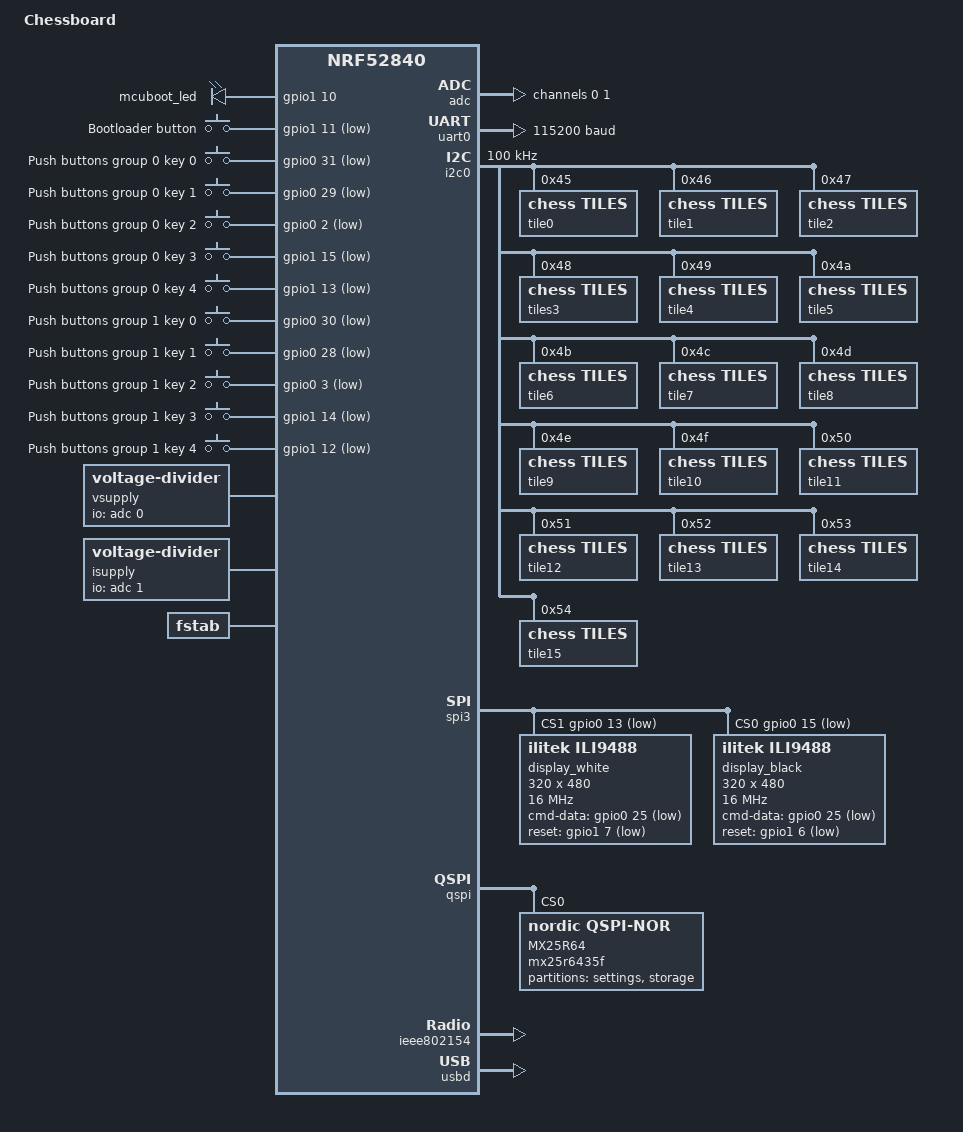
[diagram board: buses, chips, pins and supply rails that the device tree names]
/dts-v1/;

#include <nordic/nrf52840_qiaa.dtsi>
#include "chessboard-pinctrl.dtsi"
#include <zephyr/dt-bindings/input/input-event-codes.h>
#include <dt-bindings/display/ili9xxx.h>

/ {
   model = "Chessboard";
   compatible = "nordic,nrf52840-chessboard";

   chosen {
      zephyr,display = &display_black;
      zephyr,console = &uart0;
      zephyr,shell-uart = &uart0;
      zephyr,uart-mcumgr = &uart0;
      zephyr,bt-mon-uart = &uart0;
      zephyr,bt-c2h-uart = &uart0;
      zephyr,sram = &sram0;
      zephyr,flash = &flash0;
      zephyr,code-partition = &slot0_partition;
      zephyr,ieee802154 = &ieee802154;
      nordic,pm-ext-flash = &mx25r6435f;
   };

   leds {
      compatible = "gpio-leds";
      mcuboot_led: mcuboot-led {
         gpios = <&gpio1 10 GPIO_ACTIVE_HIGH>;
      };
   };

   buttons {
      compatible = "gpio-keys";
      mcuboot_btn: mbuboot-btn {
         gpios = <&gpio1 11 (GPIO_ACTIVE_LOW)>;
         label = "Bootloader button";
      };
      button0_3: buttons0-0 {
         gpios = <&gpio0 31 (GPIO_ACTIVE_LOW)>;
         label = "Push buttons group 0 key 0";
         zephyr,code = <INPUT_KEY_0>;
      };
      button0_2: buttons0-1 {
         gpios = <&gpio0 29 (GPIO_ACTIVE_LOW)>;
         label = "Push buttons group 0 key 1";
         zephyr,code = <INPUT_KEY_1>;
      };
      button0_1: buttons0-2 {
         gpios = <&gpio0 2 (GPIO_ACTIVE_LOW)>;
         label = "Push buttons group 0 key 2";
         zephyr,code = <INPUT_KEY_2>;
      };
      button0_0: buttons0-3 {
         gpios = <&gpio1 15 (GPIO_ACTIVE_LOW)>;
         label = "Push buttons group 0 key 3";
         zephyr,code = <INPUT_KEY_3>;
      };
      button0_4: buttons0-4 {
         gpios = <&gpio1 13 (GPIO_ACTIVE_LOW)>;
         label = "Push buttons group 0 key 4";
         zephyr,code = <INPUT_KEY_4>;
      };
      button1_4: buttons1-0 {
         gpios = <&gpio0 30 (GPIO_ACTIVE_LOW)>;
         label = "Push buttons group 1 key 0";
         zephyr,code = <INPUT_KEY_5>;
      };
      button1_3: buttons1-1 {
         gpios = <&gpio0 28 (GPIO_ACTIVE_LOW)>;
         label = "Push buttons group 1 key 1";
         zephyr,code = <INPUT_KEY_6>;
      };
      button1_2: buttons1-2 {
         gpios = <&gpio0 3 (GPIO_ACTIVE_LOW)>;
         label = "Push buttons group 1 key 2";
         zephyr,code = <INPUT_KEY_7>;
      };
      button1_1: buttons1-3 {
         gpios = <&gpio1 14 (GPIO_ACTIVE_LOW)>;
         label = "Push buttons group 1 key 3";
         zephyr,code = <INPUT_KEY_8>;
      };
      button1_0: buttons1-4 {
         gpios = <&gpio1 12 (GPIO_ACTIVE_LOW)>;
         label = "Push buttons group 1 key 4";
         zephyr,code = <INPUT_KEY_9>;
      };
   };

   vsupply {
      compatible = "voltage-divider";
      io-channels = <&adc 0>;
      output-ohms = <100000>;
      full-ohms = <(40000 + 100000)>;
   };

   isupply {
      compatible = "voltage-divider";
      io-channels = <&adc 1>;
      output-ohms = <20000>;
      full-ohms = <(10000 + 20000)>;
   };

   fstab {
      compatible = "zephyr,fstab";
      etc: etc {
         compatible = "zephyr,fstab,littlefs";
         mount-point = "/etc";
         partition = <&settings_partition>;
         automount;
         read-size = <16>;
         prog-size = <16>;
         cache-size = <64>;
         lookahead-size = <32>;
         block-cycles = <512>;
      };
      mnt: mnt {
         compatible = "zephyr,fstab,littlefs";
         mount-point = "/mnt";
         partition = <&storage_partition>;
         automount;
         read-size = <16>;
         prog-size = <16>;
         cache-size = <64>;
         lookahead-size = <32>;
         block-cycles = <512>;
      };
   };

   aliases {
      btn0 = &button0_0;
      btn1 = &button0_1;
      btn2 = &button0_2;
      btn3 = &button0_3;
      btn4 = &button0_4;
      btn5 = &button1_0;
      btn6 = &button1_1;
      btn7 = &button1_2;
      btn8 = &button1_3;
      btn9 = &button1_4;
      bootloader-led0 = &mcuboot_led;
      mcuboot-button0 = &mcuboot_btn;
      mcuboot-led0 = &mcuboot_led;
      watchdog0 = &wdt0;
      spi-flash0 = &mx25r6435f;
   };
};

&adc {
   status = "okay";
   #address-cells = <1>;
   #size-cells = <0>;

   channel@0 {
      reg = <0>;
      zephyr,gain = "ADC_GAIN_1_6";
      zephyr,reference = "ADC_REF_INTERNAL";
      zephyr,acquisition-time = <ADC_ACQ_TIME_DEFAULT>;
      zephyr,input-positive = <NRF_SAADC_AIN2>; /* P0.04 */
      zephyr,resolution = <12>;
   };
   channel@1 {
      reg = <1>;
      zephyr,gain = "ADC_GAIN_1_6";
      zephyr,reference = "ADC_REF_INTERNAL";
      zephyr,acquisition-time = <ADC_ACQ_TIME_DEFAULT>;
      zephyr,input-positive = <NRF_SAADC_AIN3>; /* P0.05 */
      zephyr,resolution = <12>;
   };
};

&uicr {
   gpio-as-nreset;
};

&gpiote {
   status = "okay";
};

&gpio0 {
   status = "okay";
   sense-edge-mask = <0xffffffff>;
};

&gpio1 {
   status = "okay";
   sense-edge-mask = <0xffffffff>;
};

&uart0 {
   compatible = "nordic,nrf-uarte";
   status = "okay";
   current-speed = <115200>;
   pinctrl-0 = <&uart0_default>;
   pinctrl-1 = <&uart0_sleep>;
   pinctrl-names = "default", "sleep";
};

&i2c0 {
   compatible = "nordic,nrf-twi";
   status = "okay";
   clock-frequency = <100000>;
   pinctrl-0 = <&i2c0_default>;
   pinctrl-1 = <&i2c0_sleep>;
   pinctrl-names = "default", "sleep";


   tile0: tiles@45 {
      status = "okay";
      reg = <0x45>;
      compatible = "chess,tiles";
   };

   tile1: tiles@46 {
      status = "okay";
      reg = <0x46>;
      compatible = "chess,tiles";
   };

   tile2: tiles@47 {
      status = "okay";
      reg = <0x47>;
      compatible = "chess,tiles";
   };

   tiles3: tiles@48 {
      reg = <0x48>;
      compatible = "chess,tiles";
   };

   tile4: tiles@49 {
      status = "okay";
      reg = <0x49>;
      compatible = "chess,tiles";
   };

   tile5: tiles@4a {
      status = "okay";
      reg = <0x4a>;
      compatible = "chess,tiles";
   };

   tile6: tiles@4b {
      status = "okay";
      reg = <0x4b>;
      compatible = "chess,tiles";
   };

   tile7: tiles@4c {
      status = "okay";
      reg = <0x4c>;
      compatible = "chess,tiles";
   };

   tile8: tiles@4d {
      status = "okay";
      reg = <0x4d>;
      compatible = "chess,tiles";
   };

   tile9: tiles@4e {
      status = "okay";
      reg = <0x4e>;
      compatible = "chess,tiles";
   };

   tile10: tiles@4f {
      status = "okay";
      reg = <0x4f>;
      compatible = "chess,tiles";
   };

   tile11: tiles@50 {
      status = "okay";
      reg = <0x50>;
      compatible = "chess,tiles";
   };

   tile12: tiles@51 {
      status = "okay";
      reg = <0x51>;
      compatible = "chess,tiles";
   };

   tile13: tiles@52 {
      status = "okay";
      reg = <0x52>;
      compatible = "chess,tiles";
   };

   tile14: tiles@53 {
      status = "okay";
      reg = <0x53>;
      compatible = "chess,tiles";
   };

   tile15: tiles@54 {
      status = "okay";
      reg = <0x54>;
      compatible = "chess,tiles";
   };
};

&spi3 {
   compatible = "nordic,nrf-spim";
   status = "okay";
   pinctrl-0 = <&spi3_default>;
   pinctrl-1 = <&spi3_sleep>;
   pinctrl-names = "default", "sleep";
   cs-gpios = <&gpio0 15 (GPIO_ACTIVE_LOW)>, <&gpio0 13 (GPIO_ACTIVE_LOW)>;

   display_white: ili9488@1 {
      compatible = "ilitek,ili9488";
      status = "okay";
      spi-max-frequency = <16000000>;
      reg = <1>;
      height = <480>;
      width = <320>;
      cmd-data-gpios = <&gpio0 25 (GPIO_ACTIVE_LOW)>;
      reset-gpios = <&gpio1 7 (GPIO_ACTIVE_LOW)>;
      pixel-format = <ILI9XXX_PIXEL_FORMAT_RGB888>; //<ILI9XXX_PIXEL_FORMAT_RGB565>;
      rotation = <180>;
      frmctr1 = [ a0 11  ];
      pwctrl1 = [ 17 15  ];
      pwctrl2 = [ 41  ];
      pgamctrl = [ 00 03 09 08 16 0a 3f 78 4c 09 0a 08 16 1a 0f  ];
      ngamctrl = [ 00 16 19 03 0f 05 32 45 46 04 0e 0d 35 37 0f  ];
   };

   display_black: ili9488@0 {
      compatible = "ilitek,ili9488";
      status = "okay";
      spi-max-frequency = <16000000>;
      reg = <0>;
      height = <480>;
      width = <320>;
      cmd-data-gpios = <&gpio0 25 (GPIO_ACTIVE_LOW)>;
      reset-gpios = <&gpio1 6 (GPIO_ACTIVE_LOW)>;
      pixel-format = <ILI9XXX_PIXEL_FORMAT_RGB888>;
      rotation = <180>;
      frmctr1 = [ a0 11  ];
      pwctrl1 = [ 17 15  ];
      pwctrl2 = [ 41  ];
      pgamctrl = [ 00 03 09 08 16 0a 3f 78 4c 09 0a 08 16 1a 0f  ];
      ngamctrl = [ 00 16 19 03 0f 05 32 45 46 04 0e 0d 35 37 0f  ];
   };
};

&qspi {
   status = "okay";
   pinctrl-0 = <&qspi_default>;
   pinctrl-1 = <&qspi_sleep>;
   pinctrl-names = "default", "sleep";
   mx25r6435f: mx25r6435f@0 {
      compatible = "nordic,qspi-nor";
      reg = <0>;
      label = "MX25R64";
      /* MX25R64 supports only pp and pp4io */
      writeoc = "pp4io";
      /* MX25R64 supports all readoc options */
      readoc = "read4io";
      sck-frequency = <8000000>;
      jedec-id = [ c2 28 17  ];
      sfdp-bfp = [ e5 20 f1 ff ff ff ff 03 44 eb 08 6b 08 3b 04 bb ee ff ff ff ff ff 00 ff ff ff 00 ff 0c 20 0f 52 10 d8 00 ff 23 72 f5 00 82 ed 04 cc 44 83 68 44 30 b0 30 b0 f7 c4 d5 5c 00 be 29 ff f0 d0 ff ff  ];
      size = <67108864>;
      has-dpd;
      t-enter-dpd = <10000>;
      t-exit-dpd = <35000>;
   };
};

&mx25r6435f {
   partitions {
      compatible = "fixed-partitions";
      #address-cells = <1>;
      #size-cells = <1>;

      settings_partition: partition@20000 {
         label = "settings";
         reg = <0x20000 0x10000>;
      };
      storage_partition: partition@30000 {
         label = "storage";
         reg = <0x30000 0x10000>;
      };
   };
};

&ieee802154 {
   status = "okay";
};

&flash0 {

   partitions {
      compatible = "fixed-partitions";
      #address-cells = <1>;
      #size-cells = <1>;

      boot_partition: partition@0 {
         label = "mcuboot";
         reg = <0x00000000 0x0000C000>;
      };
      slot0_partition: partition@c000 {
         label = "image-0";
         reg = <0x0000C000 0x00076000>;
      };
      slot1_partition: partition@82000 {
         label = "image-1";
         reg = <0x00082000 0x00076000>;
      };
   };
};

zephyr_udc0: &usbd {
   compatible = "nordic,nrf-usbd";
   status = "okay";
};
